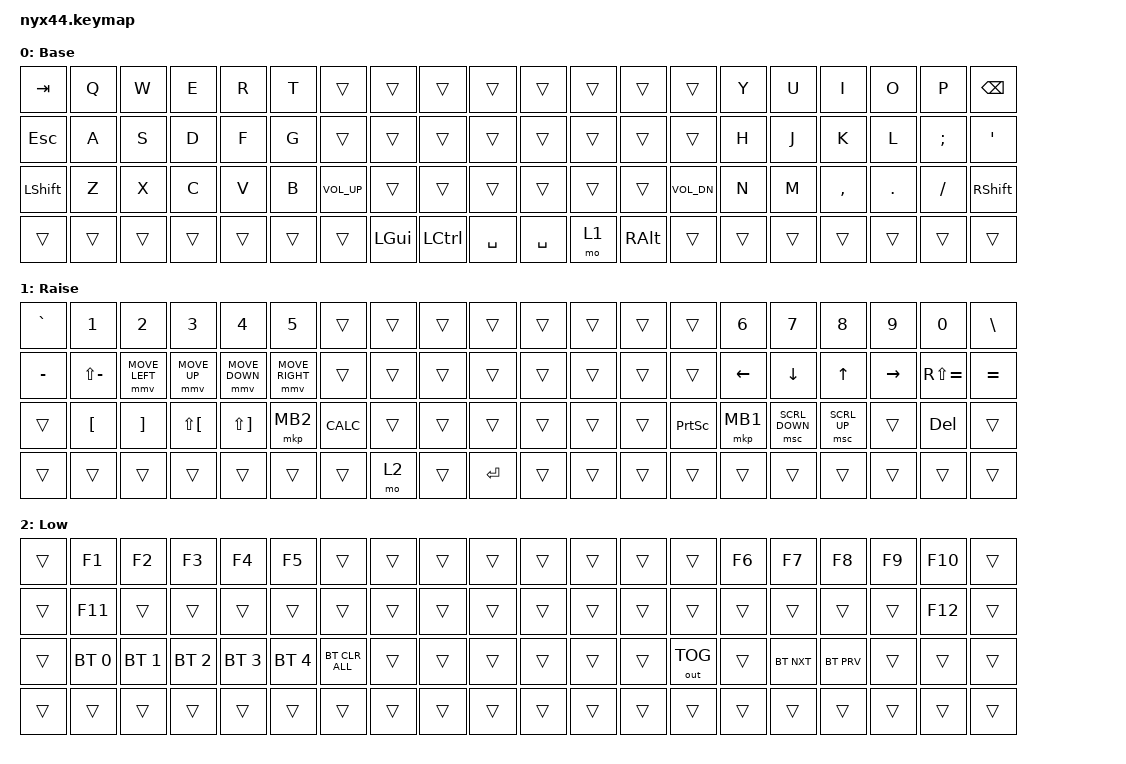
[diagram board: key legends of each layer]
#include <behaviors.dtsi>
#include <dt-bindings/zmk/keys.h>
#include <dt-bindings/zmk/bt.h>
#include <dt-bindings/zmk/pointing.h> 
#include <dt-bindings/zmk/outputs.h>

/ {
    keymap {
        compatible = "zmk,keymap";
        
        default_layer {
            display-name = "Base";
            bindings = <
// ┌─────────┬─────────┬─────────┬─────────┬─────────┬─────────┬─────────┬─────────┬─────────┬─────────┐    ┌─────────┬─────────┬─────────┬─────────┬─────────┬─────────┬─────────┬─────────┬─────────┬─────────┐
   &kp TAB    &kp Q     &kp W     &kp E     &kp R     &kp T     &trans    &trans    &trans    &trans         &trans    &trans    &trans    &trans    &kp Y     &kp U     &kp I     &kp O     &kp P     &kp BSPC
// ├─────────┼─────────┼─────────┼─────────┼─────────┼─────────┼─────────┼─────────┼─────────┼─────────┤    ├─────────┼─────────┼─────────┼─────────┼─────────┼─────────┼─────────┼─────────┼─────────┼─────────┤
   &kp ESC    &kp A     &kp S     &kp D     &kp F     &kp G     &trans    &trans    &trans    &trans         &trans    &trans    &trans    &trans    &kp H     &kp J     &kp K     &kp L     &kp SEMI  &kp APOS
// ├─────────┼─────────┼─────────┼─────────┼─────────┼─────────┼─────────┼─────────┼─────────┼─────────┤    ├─────────┼─────────┼─────────┼─────────┼─────────┼─────────┼─────────┼─────────┼─────────┼─────────┤
   &kp LSHIFT &kp Z     &kp X     &kp C     &kp V     &kp B     &kp C_VOL_UP &trans &trans    &trans         &trans    &trans    &trans    &kp C_VOL_DN &kp N   &kp M     &kp COMMA &kp DOT   &kp FSLH  &kp RSHIFT
// ├─────────┼─────────┼─────────┼─────────┼─────────┼─────────┼─────────┼─────────┼─────────┼─────────┤    ├─────────┼─────────┼─────────┼─────────┼─────────┼─────────┼─────────┼─────────┼─────────┼─────────┤
   &trans     &trans    &trans    &trans    &trans    &trans    &trans    &kp LGUI  &kp LCTRL &kp SPACE      &kp SPACE &mo 1     &kp RALT  &trans    &trans    &trans    &trans    &trans    &trans    &trans
// └─────────┴─────────┴─────────┴─────────┴─────────┴─────────┴─────────┴─────────┴─────────┴─────────┘    └─────────┴─────────┴─────────┴─────────┴─────────┴─────────┴─────────┴─────────┴─────────┴─────────┘
            >;
        };
        
        raise_layer {
            display-name = "Raise";
            bindings = <
// ┌─────────┬─────────┬─────────┬─────────┬─────────┬─────────┬─────────┬─────────┬─────────┬─────────┐    ┌─────────┬─────────┬─────────┬─────────┬─────────┬─────────┬─────────┬─────────┬─────────┬─────────┐
   &kp GRAVE  &kp N1    &kp N2    &kp N3    &kp N4    &kp N5    &trans    &trans    &trans    &trans         &trans    &trans    &trans    &trans    &kp N6    &kp N7    &kp N8    &kp N9    &kp N0    &kp BSLH
// ├─────────┼─────────┼─────────┼─────────┼─────────┼─────────┼─────────┼─────────┼─────────┼─────────┤    ├─────────┼─────────┼─────────┼─────────┼─────────┼─────────┼─────────┼─────────┼─────────┼─────────┤
   &kp MINUS  &kp LS(MINUS) &mmv MOVE_LEFT &mmv MOVE_UP &mmv MOVE_DOWN &mmv MOVE_RIGHT &trans &trans &trans &trans    &trans    &trans    &trans    &trans    &kp LEFT  &kp DOWN  &kp UP    &kp RIGHT &kp RS(EQUAL) &kp EQUAL
// ├─────────┼─────────┼─────────┼─────────┼─────────┼─────────┼─────────┼─────────┼─────────┼─────────┤    ├─────────┼─────────┼─────────┼─────────┼─────────┼─────────┼─────────┼─────────┼─────────┼─────────┤
   &trans     &kp LBKT  &kp RBKT  &kp LS(LBKT) &kp LS(RBKT) &mkp MB2 &kp K_CALC &trans &trans &trans        &trans    &trans    &trans    &kp PSCRN &mkp MB1  &msc SCRL_DOWN &msc SCRL_UP &trans &kp DEL &trans
// ├─────────┼─────────┼─────────┼─────────┼─────────┼─────────┼─────────┼─────────┼─────────┼─────────┤    ├─────────┼─────────┼─────────┼─────────┼─────────┼─────────┼─────────┼─────────┼─────────┼─────────┤
   &trans     &trans    &trans    &trans    &trans    &trans    &trans    &mo 2     &trans    &kp ENTER      &trans    &trans    &trans    &trans    &trans    &trans    &trans    &trans    &trans    &trans
// └─────────┴─────────┴─────────┴─────────┴─────────┴─────────┴─────────┴─────────┴─────────┴─────────┘    └─────────┴─────────┴─────────┴─────────┴─────────┴─────────┴─────────┴─────────┴─────────┴─────────┘
            >;
        };
      
        low_layer {
            display-name = "Low";
            bindings = <
// ┌─────────┬─────────┬─────────┬─────────┬─────────┬─────────┬─────────┬─────────┬─────────┬─────────┐    ┌─────────┬─────────┬─────────┬─────────┬─────────┬─────────┬─────────┬─────────┬─────────┬─────────┐
   &trans     &kp F1    &kp F2    &kp F3    &kp F4    &kp F5    &trans    &trans    &trans    &trans         &trans    &trans    &trans    &trans    &kp F6    &kp F7    &kp F8    &kp F9    &kp F10   &trans
// ├─────────┼─────────┼─────────┼─────────┼─────────┼─────────┼─────────┼─────────┼─────────┼─────────┤    ├─────────┼─────────┼─────────┼─────────┼─────────┼─────────┼─────────┼─────────┼─────────┼─────────┤
   &trans     &kp F11   &trans    &trans    &trans    &trans    &trans    &trans    &trans    &trans         &trans    &trans    &trans    &trans    &trans    &trans    &trans    &trans    &kp F12   &trans
// ├─────────┼─────────┼─────────┼─────────┼─────────┼─────────┼─────────┼─────────┼─────────┼─────────┤    ├─────────┼─────────┼─────────┼─────────┼─────────┼─────────┼─────────┼─────────┼─────────┼─────────┤
   &trans     &bt BT_SEL 0 &bt BT_SEL 1 &bt BT_SEL 2 &bt BT_SEL 3 &bt BT_SEL 4 &bt BT_CLR_ALL &trans &trans &trans    &trans    &trans    &trans    &out OUT_TOG    &trans    &bt BT_NXT &bt BT_PRV &trans &trans &trans
// ├─────────┼─────────┼─────────┼─────────┼─────────┼─────────┼─────────┼─────────┼─────────┼─────────┤    ├─────────┼─────────┼─────────┼─────────┼─────────┼─────────┼─────────┼─────────┼─────────┼─────────┤
   &trans     &trans    &trans    &trans    &trans    &trans    &trans    &trans    &trans    &trans         &trans    &trans    &trans    &trans    &trans    &trans    &trans    &trans    &trans    &trans
// └─────────┴─────────┴─────────┴─────────┴─────────┴─────────┴─────────┴─────────┴─────────┴─────────┘    └─────────┴─────────┴─────────┴─────────┴─────────┴─────────┴─────────┴─────────┴─────────┴─────────┘
            >;
        };
    };
};
